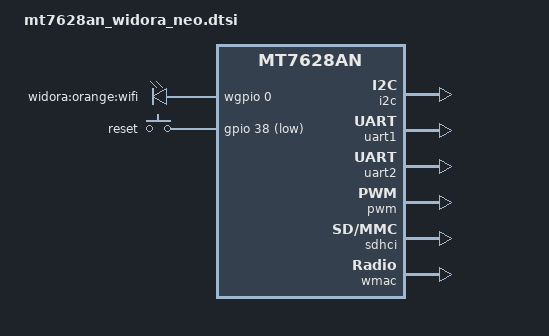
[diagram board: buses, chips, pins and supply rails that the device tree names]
#include "mt7628an.dtsi"

#include <dt-bindings/gpio/gpio.h>
#include <dt-bindings/input/input.h>

/ {
	compatible = "widora,neo", "mediatek,mt7628an-soc";

	aliases {
		led-boot = &led_wifi;
		led-failsafe = &led_wifi;
		led-running = &led_wifi;
		led-upgrade = &led_wifi;
	};

	chosen {
		bootargs = "console=ttyS0,115200";
	};

	leds {
		compatible = "gpio-leds";

		led_wifi: wifi {
			label = "widora:orange:wifi";
			gpios = <&wgpio 0 GPIO_ACTIVE_HIGH>;
			default-state = "on";
		};
	};

	keys {
		compatible = "gpio-keys";

		wps {
			label = "reset";
			gpios = <&gpio 38 GPIO_ACTIVE_LOW>;
			linux,code = <KEY_WPS_BUTTON>;
		};
	};

	wgpio: gpio-wifi {
		compatible = "mediatek,gpio-wifi";
		#address-cells = <1>;
		#size-cells = <0>;
		gpio-controller;
		#gpio-cells = <2>;
	};
};

&state_default {
	gpio {
		groups = "gpio";
		function = "gpio";
	};

	perst {
		groups = "perst";
		function = "gpio";
	};

	refclk {
		groups = "refclk";
		function = "gpio";
	};

	i2s {
		groups = "i2s";
		function = "gpio";
	};

	spis {
		groups = "spis";
		function = "gpio";
	};

	wled_kn {
		groups = "wled_kn";
		function = "gpio";
	};

	wled_an {
		groups = "wled_an";
		function = "wled_an";
	};

	wdt {
		groups = "wdt";
		function = "gpio";
	};
};

&i2c {
	status = "okay";
};

&uart1 {
	status = "okay";
};

&uart2 {
	status = "okay";
};

&pwm {
	status = "okay";
};

&ethernet {
	mtd-mac-address = <&factory 0x28>;
};

&sdhci {
	status = "okay";
	mediatek,cd-low;
};

&wmac {
	status = "okay";
};
